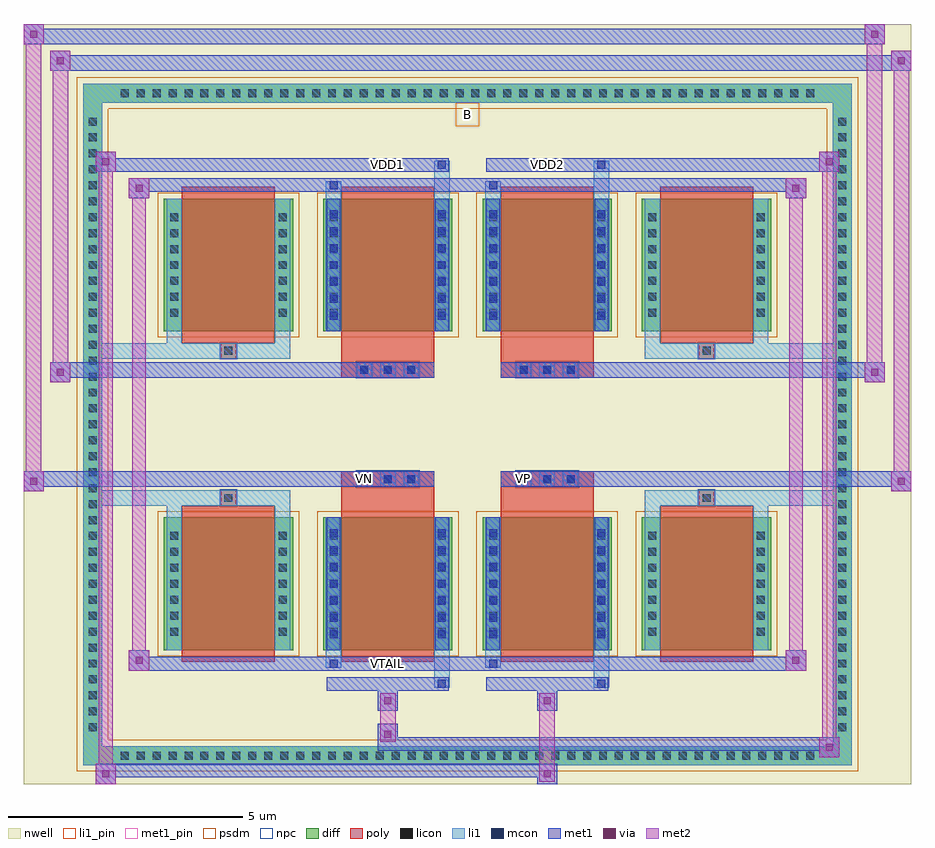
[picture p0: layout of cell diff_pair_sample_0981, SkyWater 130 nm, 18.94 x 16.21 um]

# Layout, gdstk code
import gdstk
lib = gdstk.Library(unit=1e-6, precision=5e-09)
def R(c, l, rs):  # rectangles x0, y0, x1, y1
    for r in rs: c.add(gdstk.rectangle(r[:2], r[2:], *l))
def A(c, l, x, y, w, h, nx, ny, dx, dy):  # array of equal rectangles
    R(c, l, [(x+i*dx, y+j*dy, x+i*dx+w, y+j*dy+h) for i in range(nx) for j in range(ny)])
def P(c, l, *ps):  # polygons
    for p in ps: c.add(gdstk.Polygon(p, *l))
nwell = (64, 20)
diff = (65, 20)
poly = (66, 20)
licon = (66, 44)
li1_pin = (67, 16)
li1 = (67, 20)
mcon = (67, 44)
met1_pin = (68, 16)
met1 = (68, 20)
via = (68, 44)
met2 = (69, 20)
psdm = (94, 20)
npc = (95, 20)

diff_pair_sample_0981 = lib.new_cell('diff_pair_sample_0981')
R(diff_pair_sample_0981, nwell, [(-9.47,-7.67,9.47,8.54), (-6.79,-5.86,-0.01,-0.8), (0.01,-5.86,6.79,-0.8), (-6.79,0.8,-0.01,5.86), (0.01,0.8,6.79,5.86)])
A(diff_pair_sample_0981, diff, -7.515, -7.27, 0.41, 0.41, 44, 2, 0.34, 14.13)
A(diff_pair_sample_0981, diff, -8.2, -6.665, 0.41, 0.41, 1, 39, 0, 0.34)
A(diff_pair_sample_0981, diff, 7.79, -6.665, 0.41, 0.41, 1, 39, 0, 0.34)
A(diff_pair_sample_0981, diff, -6.48, -4.815, 2.76, 2.83, 4, 2, 3.4, 6.8)
R(diff_pair_sample_0981, diff, [(-7.515,-7.27,7.515,-6.86), (-8.2,-6.665,-7.79,6.665), (7.79,-6.665,8.2,6.665), (-7.515,6.86,7.515,7.27)])
P(diff_pair_sample_0981, diff, [(8.2,7.27),(-8.2,7.27),(-8.2,-6.86),(-7.79,-6.86),(-7.79,6.86),(7.79,6.86),(7.79,-6.86),(-7.79,-6.86),(-8.2,-6.86),(-8.2,-7.27),(8.2,-7.27)])
A(diff_pair_sample_0981, poly, -6.09, -5.065, 1.98, 3.33, 4, 2, 3.4, 6.8)
A(diff_pair_sample_0981, poly, -2.365, -1.33, 0.33, 0.33, 3, 2, 0.5, 2.33)
A(diff_pair_sample_0981, poly, 1.035, -1.33, 0.33, 0.33, 3, 2, 0.5, 2.33)
R(diff_pair_sample_0981, poly, [(-5.265,-1.735,-4.935,-1.405), (-5.265,-1.735,-4.935,-1.405), (-2.69,-1.735,-0.71,-1.33), (0.71,-1.735,2.69,-1.33), (4.935,-1.735,5.265,-1.405), (4.935,-1.735,5.265,-1.405), (-2.69,-1.33,-0.71,-1), (0.71,-1.33,2.69,-1), (-2.69,1,-0.71,1.33), (0.71,1,2.69,1.33), (-2.69,1.33,-0.71,1.735), (0.71,1.33,2.69,1.735), (-5.265,1.405,-4.935,1.735), (-5.265,1.405,-4.935,1.735), (4.935,1.405,5.265,1.735), (4.935,1.405,5.265,1.735)])
A(diff_pair_sample_0981, licon, -7.395, -7.15, 0.17, 0.17, 44, 2, 0.34, 14.13)
A(diff_pair_sample_0981, licon, -8.08, -6.545, 0.17, 0.17, 1, 39, 0, 0.34)
A(diff_pair_sample_0981, licon, 7.91, -6.545, 0.17, 0.17, 1, 39, 0, 0.34)
A(diff_pair_sample_0981, licon, -6.34, -4.505, 0.17, 0.17, 1, 7, 0, 0.34)
A(diff_pair_sample_0981, licon, -4.03, -4.505, 0.17, 0.17, 1, 7, 0, 0.34)
A(diff_pair_sample_0981, licon, -2.94, -4.505, 0.17, 0.17, 1, 7, 0, 0.34)
A(diff_pair_sample_0981, licon, -0.63, -4.505, 0.17, 0.17, 1, 7, 0, 0.34)
A(diff_pair_sample_0981, licon, 0.46, -4.505, 0.17, 0.17, 1, 7, 0, 0.34)
A(diff_pair_sample_0981, licon, 2.77, -4.505, 0.17, 0.17, 1, 7, 0, 0.34)
A(diff_pair_sample_0981, licon, 3.86, -4.505, 0.17, 0.17, 1, 7, 0, 0.34)
A(diff_pair_sample_0981, licon, 6.17, -4.505, 0.17, 0.17, 1, 7, 0, 0.34)
A(diff_pair_sample_0981, licon, -2.285, -1.25, 0.17, 0.17, 3, 2, 0.5, 2.33)
A(diff_pair_sample_0981, licon, 1.115, -1.25, 0.17, 0.17, 3, 2, 0.5, 2.33)
A(diff_pair_sample_0981, licon, -6.34, 2.295, 0.17, 0.17, 1, 7, 0, 0.34)
A(diff_pair_sample_0981, licon, -4.03, 2.295, 0.17, 0.17, 1, 7, 0, 0.34)
A(diff_pair_sample_0981, licon, -2.94, 2.295, 0.17, 0.17, 1, 7, 0, 0.34)
A(diff_pair_sample_0981, licon, -0.63, 2.295, 0.17, 0.17, 1, 7, 0, 0.34)
A(diff_pair_sample_0981, licon, 0.46, 2.295, 0.17, 0.17, 1, 7, 0, 0.34)
A(diff_pair_sample_0981, licon, 2.77, 2.295, 0.17, 0.17, 1, 7, 0, 0.34)
A(diff_pair_sample_0981, licon, 3.86, 2.295, 0.17, 0.17, 1, 7, 0, 0.34)
A(diff_pair_sample_0981, licon, 6.17, 2.295, 0.17, 0.17, 1, 7, 0, 0.34)
R(diff_pair_sample_0981, licon, [(-5.185,-1.655,-5.015,-1.485), (5.015,-1.655,5.185,-1.485), (-5.185,1.485,-5.015,1.655), (5.015,1.485,5.185,1.655)])
R(diff_pair_sample_0981, li1_pin, [(-0.25,6.36,0.25,6.86)])
A(diff_pair_sample_0981, li1, -7.475, -7.23, 0.33, 0.33, 44, 2, 0.34, 14.13)
A(diff_pair_sample_0981, li1, -8.16, -6.625, 0.33, 0.33, 1, 39, 0, 0.34)
A(diff_pair_sample_0981, li1, 7.83, -6.625, 0.33, 0.33, 1, 39, 0, 0.34)
A(diff_pair_sample_0981, li1, -6.42, -4.585, 0.33, 0.33, 1, 7, 0, 0.34)
A(diff_pair_sample_0981, li1, -4.11, -4.585, 0.33, 0.33, 1, 7, 0, 0.34)
A(diff_pair_sample_0981, li1, -3.02, -4.585, 0.33, 0.33, 1, 7, 0, 0.34)
A(diff_pair_sample_0981, li1, -0.71, -4.585, 0.33, 0.33, 1, 7, 0, 0.34)
A(diff_pair_sample_0981, li1, 0.38, -4.585, 0.33, 0.33, 1, 7, 0, 0.34)
A(diff_pair_sample_0981, li1, 2.69, -4.585, 0.33, 0.33, 1, 7, 0, 0.34)
A(diff_pair_sample_0981, li1, 3.78, -4.585, 0.33, 0.33, 1, 7, 0, 0.34)
A(diff_pair_sample_0981, li1, 6.09, -4.585, 0.33, 0.33, 1, 7, 0, 0.34)
A(diff_pair_sample_0981, li1, -2.94, -4.565, 0.17, 0.17, 1, 7, 0, 0.36)
A(diff_pair_sample_0981, li1, -0.63, -4.565, 0.17, 0.17, 1, 7, 0, 0.36)
A(diff_pair_sample_0981, li1, 0.46, -4.565, 0.17, 0.17, 1, 7, 0, 0.36)
A(diff_pair_sample_0981, li1, 2.77, -4.565, 0.17, 0.17, 1, 7, 0, 0.36)
A(diff_pair_sample_0981, li1, -2.365, -1.33, 0.33, 0.33, 3, 2, 0.5, 2.33)
A(diff_pair_sample_0981, li1, 1.035, -1.33, 0.33, 0.33, 3, 2, 0.5, 2.33)
A(diff_pair_sample_0981, li1, -6.42, 2.215, 0.33, 0.33, 1, 7, 0, 0.34)
A(diff_pair_sample_0981, li1, -4.11, 2.215, 0.33, 0.33, 1, 7, 0, 0.34)
A(diff_pair_sample_0981, li1, -3.02, 2.215, 0.33, 0.33, 1, 7, 0, 0.34)
A(diff_pair_sample_0981, li1, -0.71, 2.215, 0.33, 0.33, 1, 7, 0, 0.34)
A(diff_pair_sample_0981, li1, 0.38, 2.215, 0.33, 0.33, 1, 7, 0, 0.34)
A(diff_pair_sample_0981, li1, 2.69, 2.215, 0.33, 0.33, 1, 7, 0, 0.34)
A(diff_pair_sample_0981, li1, 3.78, 2.215, 0.33, 0.33, 1, 7, 0, 0.34)
A(diff_pair_sample_0981, li1, 6.09, 2.215, 0.33, 0.33, 1, 7, 0, 0.34)
A(diff_pair_sample_0981, li1, -2.94, 2.235, 0.17, 0.17, 1, 7, 0, 0.36)
A(diff_pair_sample_0981, li1, -0.63, 2.235, 0.17, 0.17, 1, 7, 0, 0.36)
A(diff_pair_sample_0981, li1, 0.46, 2.235, 0.17, 0.17, 1, 7, 0, 0.36)
A(diff_pair_sample_0981, li1, 2.77, 2.235, 0.17, 0.17, 1, 7, 0, 0.36)
R(diff_pair_sample_0981, li1, [(-8.2,-7.27,-7.79,-6.86), (-8.2,-7.27,-7.79,-6.86), (-7.79,-7.27,7.79,-6.86), (7.79,-7.27,8.2,-6.86), (7.79,-7.27,8.2,-6.86), (-8.2,-6.86,-7.79,6.86), (7.79,-6.86,8.2,6.86), (-0.71,-5.62,-0.38,-4.815), (-0.63,-5.62,-0.46,-5.45), (2.69,-5.62,3.02,-4.815), (2.77,-5.62,2.94,-5.45), (-3.02,-5.19,-2.69,-4.815), (-2.94,-5.19,-2.77,-5.02), (0.38,-5.19,0.71,-4.815), (0.46,-5.19,0.63,-5.02), (-6.42,-4.815,-6.09,-1.985), (-4.11,-4.815,-3.78,-1.985), (-3.02,-4.815,-2.69,-1.985), (-0.71,-4.815,-0.38,-1.985), (0.38,-4.815,0.71,-1.985), (2.69,-4.815,3.02,-1.985), (3.78,-4.815,4.11,-1.985), (6.09,-4.815,6.42,-1.985), (-2.94,-4.565,-2.77,-2.235), (-0.63,-4.565,-0.46,-2.235), (0.46,-4.565,0.63,-2.235), (2.77,-4.565,2.94,-2.235), (-6.42,-1.985,-6.09,-1.405), (-4.11,-1.985,-3.78,-1.405), (3.78,-1.985,4.11,-1.405), (6.09,-1.985,6.42,-1.405), (-8.2,-1.735,-5.265,-1.405), (-6.42,-1.735,-5.265,-1.405), (-5.265,-1.735,-4.935,-1.405), (-4.935,-1.735,-3.78,-1.405), (3.78,-1.735,4.935,-1.405), (4.935,-1.735,5.265,-1.405), (4.935,-1.735,8.2,-1.405), (5.265,-1.735,6.42,-1.405), (-8.2,1.405,-5.265,1.735), (-6.42,1.405,-5.265,1.735), (-6.42,1.405,-6.09,1.985), (-5.265,1.405,-4.935,1.735), (-4.935,1.405,-3.78,1.735), (-4.11,1.405,-3.78,1.985), (3.78,1.405,4.935,1.735), (3.78,1.405,4.11,1.985), (4.935,1.405,5.265,1.735), (4.935,1.405,8.2,1.735), (5.265,1.405,6.42,1.735), (6.09,1.405,6.42,1.985), (-6.42,1.985,-6.09,4.815), (-4.11,1.985,-3.78,4.815), (-3.02,1.985,-2.69,4.815), (-0.71,1.985,-0.38,4.815), (0.38,1.985,0.71,4.815), (2.69,1.985,3.02,4.815), (3.78,1.985,4.11,4.815), (6.09,1.985,6.42,4.815), (-2.94,2.235,-2.77,4.565), (-0.63,2.235,-0.46,4.565), (0.46,2.235,0.63,4.565), (2.77,2.235,2.94,4.565), (-3.02,4.815,-2.69,5.19), (-0.71,4.815,-0.38,5.62), (0.38,4.815,0.71,5.19), (2.69,4.815,3.02,5.62), (-2.94,5.02,-2.77,5.19), (0.46,5.02,0.63,5.19), (-0.63,5.45,-0.46,5.62), (2.77,5.45,2.94,5.62), (-8.2,6.86,-7.79,7.27), (-8.2,6.86,-7.79,7.27), (-7.79,6.86,7.79,7.27), (7.79,6.86,8.2,7.27), (7.79,6.86,8.2,7.27)])
A(diff_pair_sample_0981, mcon, -2.94, -4.565, 0.17, 0.17, 1, 7, 0, 0.36)
A(diff_pair_sample_0981, mcon, -0.63, -4.565, 0.17, 0.17, 1, 7, 0, 0.36)
A(diff_pair_sample_0981, mcon, 0.46, -4.565, 0.17, 0.17, 1, 7, 0, 0.36)
A(diff_pair_sample_0981, mcon, 2.77, -4.565, 0.17, 0.17, 1, 7, 0, 0.36)
A(diff_pair_sample_0981, mcon, -2.285, -1.25, 0.17, 0.17, 3, 2, 0.5, 2.33)
A(diff_pair_sample_0981, mcon, 1.115, -1.25, 0.17, 0.17, 3, 2, 0.5, 2.33)
A(diff_pair_sample_0981, mcon, -2.94, 2.235, 0.17, 0.17, 1, 7, 0, 0.36)
A(diff_pair_sample_0981, mcon, -0.63, 2.235, 0.17, 0.17, 1, 7, 0, 0.36)
A(diff_pair_sample_0981, mcon, 0.46, 2.235, 0.17, 0.17, 1, 7, 0, 0.36)
A(diff_pair_sample_0981, mcon, 2.77, 2.235, 0.17, 0.17, 1, 7, 0, 0.36)
R(diff_pair_sample_0981, mcon, [(-0.63,-5.62,-0.46,-5.45), (2.77,-5.62,2.94,-5.45), (-2.94,-5.19,-2.77,-5.02), (0.46,-5.19,0.63,-5.02), (-2.94,5.02,-2.77,5.19), (0.46,5.02,0.63,5.19), (-0.63,5.45,-0.46,5.62), (2.77,5.45,2.94,5.62)])
R(diff_pair_sample_0981, met1_pin, [(-1.835,-5.23,-1.565,-4.96), (-2.335,-1.29,-2.065,-1.02), (1.065,-1.29,1.335,-1.02), (-1.835,5.41,-1.565,5.68), (1.565,5.41,1.835,5.68)])
A(diff_pair_sample_0981, met1, -3, -4.625, 0.29, 0.29, 1, 7, 0, 0.36)
A(diff_pair_sample_0981, met1, -0.69, -4.625, 0.29, 0.29, 1, 7, 0, 0.36)
A(diff_pair_sample_0981, met1, 0.4, -4.625, 0.29, 0.29, 1, 7, 0, 0.36)
A(diff_pair_sample_0981, met1, 2.71, -4.625, 0.29, 0.29, 1, 7, 0, 0.36)
A(diff_pair_sample_0981, met1, -2.345, -1.31, 0.29, 0.29, 3, 2, 0.5, 2.33)
A(diff_pair_sample_0981, met1, 1.055, -1.31, 0.29, 0.29, 3, 2, 0.5, 2.33)
A(diff_pair_sample_0981, met1, -3, 2.175, 0.29, 0.29, 1, 7, 0, 0.36)
A(diff_pair_sample_0981, met1, -0.69, 2.175, 0.29, 0.29, 1, 7, 0, 0.36)
A(diff_pair_sample_0981, met1, 0.4, 2.175, 0.29, 0.29, 1, 7, 0, 0.36)
A(diff_pair_sample_0981, met1, 2.71, 2.175, 0.29, 0.29, 1, 7, 0, 0.36)
R(diff_pair_sample_0981, met1, [(-7.93,-7.67,-7.5,-7.24), (1.485,-7.67,1.915,-7.24), (-7.93,-7.53,1.915,-7.24), (7.5,-7.1,7.93,-6.67), (-1.915,-6.96,7.93,-6.67), (-1.915,-6.82,-1.485,-6.39), (-1.915,-6.11,-1.485,-5.68), (1.485,-6.11,1.915,-5.68), (-3,-5.68,-0.4,-5.39), (-0.69,-5.68,-0.4,-5.39), (0.4,-5.68,3,-5.39), (2.71,-5.68,3,-5.39), (-7.22,-5.25,-6.79,-4.82), (-7.22,-5.25,-3,-4.96), (-3,-5.25,-2.71,-4.96), (-3,-5.25,-0.4,-4.96), (-0.4,-5.25,0.4,-4.96), (0.4,-5.25,0.69,-4.96), (0.4,-5.25,3,-4.96), (3,-5.25,7.22,-4.96), (6.79,-5.25,7.22,-4.82), (-3,-4.815,-2.71,-1.985), (-0.69,-4.815,-0.4,-1.985), (0.4,-4.815,0.69,-1.985), (2.71,-4.815,3,-1.985), (-9.47,-1.43,-9.04,-1), (9.04,-1.43,9.47,-1), (-9.47,-1.33,-0.71,-1), (-2.69,-1.33,-0.71,-1), (0.71,-1.33,2.69,-1), (0.71,-1.33,9.47,-1), (-8.9,0.9,-8.47,1.33), (8.47,0.9,8.9,1.33), (-8.9,1,-2.69,1.33), (-2.69,1,-0.71,1.33), (0.71,1,2.69,1.33), (2.69,1,8.9,1.33), (-3,1.985,-2.71,4.815), (-0.69,1.985,-0.4,4.815), (0.4,1.985,0.69,4.815), (2.71,1.985,3,4.815), (-7.22,4.82,-6.79,5.25), (6.79,4.82,7.22,5.25), (-7.22,4.96,-3,5.25), (-3,4.96,-2.71,5.25), (-3,4.96,-0.4,5.25), (-0.4,4.96,0.4,5.25), (0.4,4.96,0.69,5.25), (0.4,4.96,3,5.25), (3,4.96,7.22,5.25), (-7.93,5.39,-7.5,5.82), (-7.93,5.39,-3,5.68), (-3,5.39,-0.4,5.68), (-0.69,5.39,-0.4,5.68), (0.4,5.39,3,5.68), (2.71,5.39,3,5.68), (3,5.39,7.93,5.68), (7.5,5.39,7.93,5.82), (-8.9,7.54,-8.47,7.97), (-8.9,7.54,-6.79,7.87), (-6.79,7.54,6.79,7.87), (6.79,7.54,9.47,7.87), (9.04,7.54,9.47,7.97), (-9.47,8.11,-9.04,8.54), (-9.47,8.11,-6.79,8.44), (-6.79,8.11,6.79,8.44), (6.79,8.11,8.9,8.44), (8.47,8.11,8.9,8.54)])
R(diff_pair_sample_0981, via, [(-7.79,-7.53,-7.64,-7.38), (1.625,-7.53,1.775,-7.38), (7.64,-6.96,7.79,-6.81), (-1.775,-6.68,-1.625,-6.53), (-1.775,-5.97,-1.625,-5.82), (1.625,-5.97,1.775,-5.82), (-7.08,-5.11,-6.93,-4.96), (6.93,-5.11,7.08,-4.96), (-9.33,-1.29,-9.18,-1.14), (9.18,-1.29,9.33,-1.14), (-8.76,1.04,-8.61,1.19), (8.61,1.04,8.76,1.19), (-7.08,4.96,-6.93,5.11), (6.93,4.96,7.08,5.11), (-7.79,5.53,-7.64,5.68), (7.64,5.53,7.79,5.68), (-8.76,7.68,-8.61,7.83), (9.18,7.68,9.33,7.83), (-9.33,8.25,-9.18,8.4), (8.61,8.25,8.76,8.4)])
R(diff_pair_sample_0981, met2, [(-7.93,-7.67,-7.5,-7.24), (-7.86,-7.67,-7.57,5.82), (-7.57,-7.67,-7.5,-7.24), (-7.88,-7.62,-7.55,-7.29), (1.535,-7.62,1.865,-7.29), (1.535,-7.29,1.865,-6.06), (7.5,-7.1,7.93,-6.67), (7.57,-7.1,7.86,5.82), (7.86,-7.1,7.93,-6.67), (7.55,-7.05,7.88,-6.72), (-1.865,-6.77,-1.535,-6.44), (-1.865,-6.44,-1.535,-6.06), (-1.865,-6.06,-1.535,-5.73), (1.535,-6.06,1.865,-5.73), (-7.22,-5.25,-6.79,-4.82), (-7.15,-5.25,-6.86,5.25), (-6.86,-5.25,-6.79,-4.82), (6.79,-5.25,7.22,-4.82), (6.86,-5.25,7.15,5.25), (7.15,-5.25,7.22,-4.82), (-7.17,-5.2,-6.84,-4.87), (6.84,-5.2,7.17,-4.87), (-9.47,-1.43,-9.04,-1), (-9.42,-1.43,-9.09,8.54), (-9.09,-1.43,-9.04,-1), (9.04,-1.43,9.47,-1), (9.09,-1.43,9.42,7.97), (9.42,-1.43,9.47,-1), (-9.42,-1.38,-9.09,-1.05), (9.09,-1.38,9.42,-1.05), (-8.9,0.9,-8.47,1.33), (-8.85,0.9,-8.52,7.97), (-8.52,0.9,-8.47,1.33), (8.47,0.9,8.9,1.33), (8.52,0.9,8.85,8.54), (8.85,0.9,8.9,1.33), (-8.85,0.95,-8.52,1.28), (8.52,0.95,8.85,1.28), (-7.22,4.82,-6.79,5.25), (-6.86,4.82,-6.79,5.25), (6.79,4.82,7.22,5.25), (7.15,4.82,7.22,5.25), (-7.17,4.87,-6.84,5.2), (6.84,4.87,7.17,5.2), (-7.93,5.39,-7.5,5.82), (-7.57,5.39,-7.5,5.82), (7.5,5.39,7.93,5.82), (7.86,5.39,7.93,5.82), (-7.88,5.44,-7.55,5.77), (7.55,5.44,7.88,5.77), (-8.9,7.54,-8.47,7.97), (-8.52,7.54,-8.47,7.97), (9.04,7.54,9.47,7.97), (9.42,7.54,9.47,7.97), (-8.85,7.59,-8.52,7.92), (9.09,7.59,9.42,7.92), (-9.47,8.11,-9.04,8.54), (-9.09,8.11,-9.04,8.54), (8.47,8.11,8.9,8.54), (8.85,8.11,8.9,8.54), (-9.42,8.16,-9.09,8.49), (8.52,8.16,8.85,8.49)])
A(diff_pair_sample_0981, psdm, -6.61, -4.945, 3.02, 3.09, 4, 2, 3.4, 6.8)
P(diff_pair_sample_0981, psdm, [(8.33,7.4),(-8.33,7.4),(-8.33,-6.73),(-7.66,-6.73),(-7.66,6.73),(7.66,6.73),(7.66,-6.73),(-7.66,-6.73),(-8.33,-6.73),(-8.33,-7.4),(8.33,-7.4)])
A(diff_pair_sample_0981, npc, -2.385, -1.35, 0.37, 0.37, 3, 2, 0.5, 2.33)
A(diff_pair_sample_0981, npc, 1.015, -1.35, 0.37, 0.37, 3, 2, 0.5, 2.33)
R(diff_pair_sample_0981, npc, [(-5.285,-1.755,-4.915,-1.385), (4.915,-1.755,5.285,-1.385), (-2.385,-1.35,-1.515,-0.98), (-2.385,-1.35,-1.515,-0.98), (-1.885,-1.35,-1.015,-0.98), (-1.885,-1.35,-1.015,-0.98), (1.015,-1.35,1.885,-0.98), (1.015,-1.35,1.885,-0.98), (1.515,-1.35,2.385,-0.98), (1.515,-1.35,2.385,-0.98), (-2.385,0.98,-1.515,1.35), (-2.385,0.98,-1.515,1.35), (-1.885,0.98,-1.015,1.35), (-1.885,0.98,-1.015,1.35), (1.015,0.98,1.885,1.35), (1.015,0.98,1.885,1.35), (1.515,0.98,2.385,1.35), (1.515,0.98,2.385,1.35), (-5.285,1.385,-4.915,1.755), (4.915,1.385,5.285,1.755)])
diff_pair_sample_0981.add(gdstk.Label('VTAIL', (-1.7,-5.095), layer=68, texttype=5))
diff_pair_sample_0981.add(gdstk.Label('VN', (-2.2,-1.155), layer=68, texttype=5))
diff_pair_sample_0981.add(gdstk.Label('VP', (1.2,-1.155), layer=68, texttype=5))
diff_pair_sample_0981.add(gdstk.Label('B', (0,6.61), layer=67, texttype=5))
diff_pair_sample_0981.add(gdstk.Label('VDD2', (1.7,5.545), layer=68, texttype=5))
diff_pair_sample_0981.add(gdstk.Label('VDD1', (-1.7,5.545), layer=68, texttype=5))

lib.write_gds('diff_pair_sample_0981.gds')
